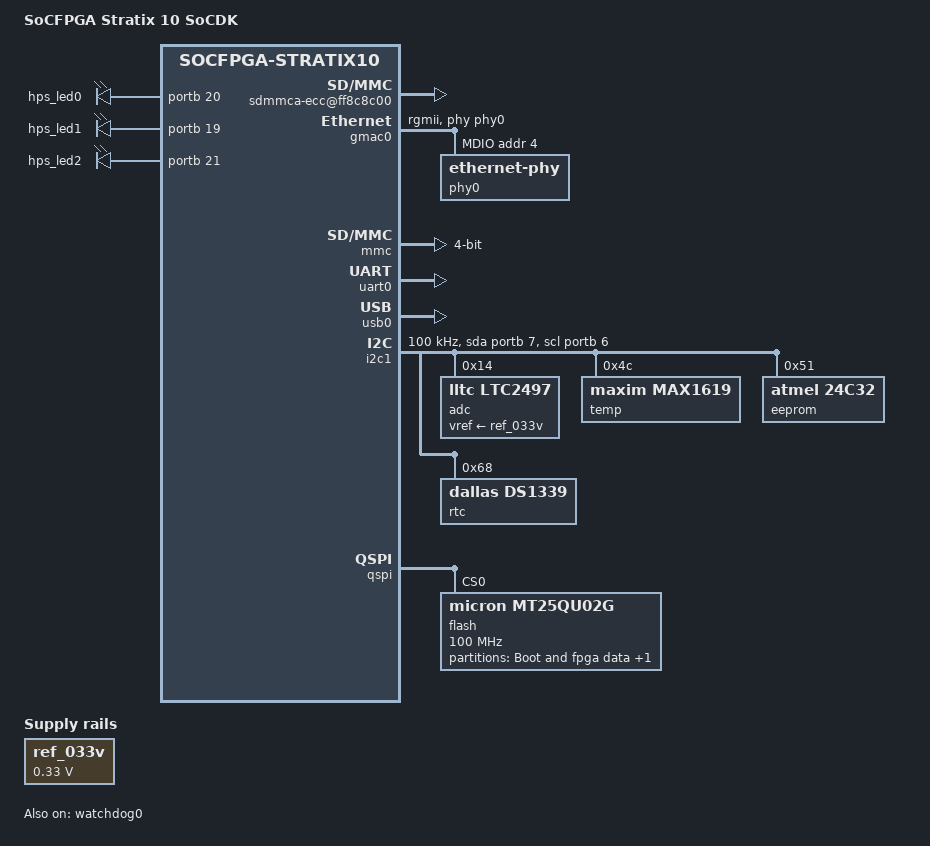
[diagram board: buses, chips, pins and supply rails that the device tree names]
// SPDX-License-Identifier: GPL-2.0-only
/*
 * Copyright Altera Corporation (C) 2015. All rights reserved.
 */

#include "socfpga_stratix10.dtsi"

/ {
	model = "SoCFPGA Stratix 10 SoCDK";
	compatible = "altr,socfpga-stratix10-socdk", "altr,socfpga-stratix10";

	aliases {
		serial0 = &uart0;
		ethernet0 = &gmac0;
		ethernet1 = &gmac1;
		ethernet2 = &gmac2;
	};

	chosen {
		stdout-path = "serial0:115200n8";
	};

	leds {
		compatible = "gpio-leds";
		led-hps0 {
			label = "hps_led0";
			gpios = <&portb 20 GPIO_ACTIVE_HIGH>;
		};

		led-hps1 {
			label = "hps_led1";
			gpios = <&portb 19 GPIO_ACTIVE_HIGH>;
		};

		led-hps2 {
			label = "hps_led2";
			gpios = <&portb 21 GPIO_ACTIVE_HIGH>;
		};
	};

	memory@80000000 {
		device_type = "memory";
		/* We expect the bootloader to fill in the reg */
		reg = <0 0x80000000 0 0>;
	};

	ref_033v: regulator-v-ref {
		compatible = "regulator-fixed";
		regulator-name = "0.33V";
		regulator-min-microvolt = <330000>;
		regulator-max-microvolt = <330000>;
	};

	soc {
		eccmgr {
			sdmmca-ecc@ff8c8c00 {
				compatible = "altr,socfpga-s10-sdmmc-ecc",
					     "altr,socfpga-sdmmc-ecc";
				reg = <0xff8c8c00 0x100>;
				altr,ecc-parent = <&mmc>;
				interrupts = <14 4>,
					     <15 4>;
			};
		};
	};
};

&pinctrl0 {
	i2c1_pmx_func: i2c1-pmx-func {
		pinctrl-single,pins = <
			0x78   0x4   /* I2C1_SDA (IO6-B) PIN30SEL) */
			0x7c   0x4   /* I2C1_SCL (IO7-B) PIN31SEL */
		>;
	};

	i2c1_pmx_func_gpio: i2c1-pmx-func-gpio {
		pinctrl-single,pins = <
			0x78   0x8   /* I2C1_SDA (IO6-B) PIN30SEL) */
			0x7c   0x8   /* I2C1_SCL (IO7-B) PIN31SEL */
		>;
	};
};

&gpio1 {
	status = "okay";
};

&gmac0 {
	status = "okay";
	phy-mode = "rgmii";
	phy-handle = <&phy0>;

	max-frame-size = <9000>;

	mdio0 {
		#address-cells = <1>;
		#size-cells = <0>;
		compatible = "snps,dwmac-mdio";
		phy0: ethernet-phy@0 {
			reg = <4>;

			txd0-skew-ps = <0>; /* -420ps */
			txd1-skew-ps = <0>; /* -420ps */
			txd2-skew-ps = <0>; /* -420ps */
			txd3-skew-ps = <0>; /* -420ps */
			rxd0-skew-ps = <420>; /* 0ps */
			rxd1-skew-ps = <420>; /* 0ps */
			rxd2-skew-ps = <420>; /* 0ps */
			rxd3-skew-ps = <420>; /* 0ps */
			txen-skew-ps = <0>; /* -420ps */
			txc-skew-ps = <900>; /* 0ps */
			rxdv-skew-ps = <420>; /* 0ps */
			rxc-skew-ps = <1680>; /* 780ps */
		};
	};
};

&mmc {
	status = "okay";
	cap-sd-highspeed;
	cap-mmc-highspeed;
	broken-cd;
	bus-width = <4>;
	clk-phase-sd-hs = <0>, <135>;
};

&osc1 {
	clock-frequency = <25000000>;
};

&uart0 {
	status = "okay";
};

&usb0 {
	status = "okay";
	disable-over-current;
};

&watchdog0 {
	status = "okay";
};

&i2c1 {
	status = "okay";
	clock-frequency = <100000>;
	i2c-sda-falling-time-ns = <890>;  /* hcnt */
	i2c-sdl-falling-time-ns = <890>;  /* lcnt */

	pinctrl-names = "default", "gpio";
	pinctrl-0 = <&i2c1_pmx_func>;
	pinctrl-1 = <&i2c1_pmx_func_gpio>;

	scl-gpios = <&portb 6 (GPIO_ACTIVE_HIGH | GPIO_OPEN_DRAIN)>;
	sda-gpios = <&portb 7 (GPIO_ACTIVE_HIGH | GPIO_OPEN_DRAIN)>;

	adc@14 {
		compatible = "lltc,ltc2497";
		reg = <0x14>;
		vref-supply = <&ref_033v>;
	};

	temp@4c {
		compatible = "maxim,max1619";
		reg = <0x4c>;
	};

	eeprom@51 {
		compatible = "atmel,24c32";
		reg = <0x51>;
		pagesize = <32>;
	};

	rtc@68 {
		compatible = "dallas,ds1339";
		reg = <0x68>;
	};
};

&qspi {
	status = "okay";
	flash@0 {
		#address-cells = <1>;
		#size-cells = <1>;
		compatible = "micron,mt25qu02g", "jedec,spi-nor";
		reg = <0>;
		spi-max-frequency = <100000000>;

		m25p,fast-read;
		cdns,page-size = <256>;
		cdns,block-size = <16>;
		cdns,read-delay = <1>;
		cdns,tshsl-ns = <50>;
		cdns,tsd2d-ns = <50>;
		cdns,tchsh-ns = <4>;
		cdns,tslch-ns = <4>;

		partitions {
			compatible = "fixed-partitions";
			#address-cells = <1>;
			#size-cells = <1>;

			qspi_boot: partition@0 {
				label = "Boot and fpga data";
				reg = <0x0 0x03FE0000>;
			};

			qspi_rootfs: partition@3FE0000 {
				label = "Root Filesystem - JFFS2";
				reg = <0x03FE0000 0x0C020000>;
			};
		};
	};
};
